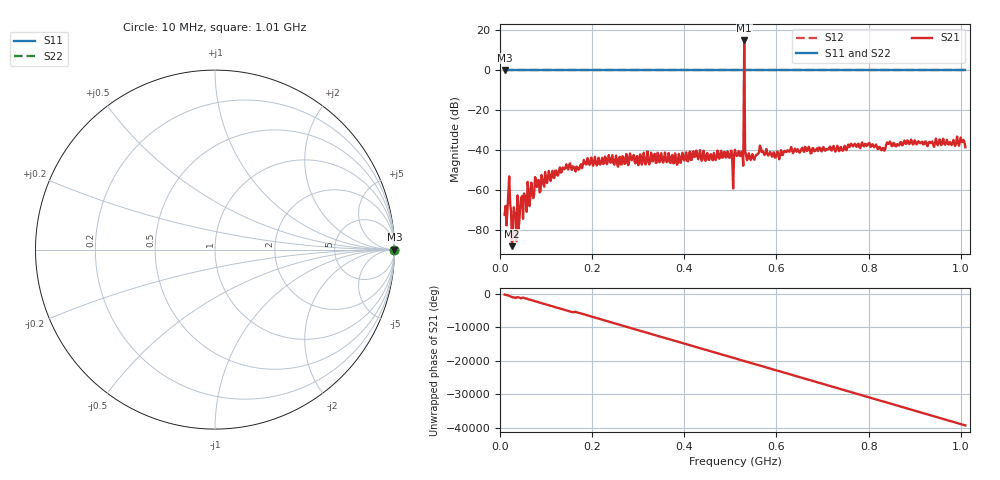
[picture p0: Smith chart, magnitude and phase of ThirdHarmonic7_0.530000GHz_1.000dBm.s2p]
! 8/17/2025 3:44:38 PM
! C:\ANRITSUVNA\TEMP\TEMP.S2P
! CHANNEL.1
! TR.MEASUREMENT
! RAW.DATA
! RF.CORRECTION.OFF
! AVERAGING.OFF
! IF.BANDWIDTH: 5KHZ
! SWEEPTYPE:  FREQ.SWEEP(Linear)
! Reference Plane Port Info
! PORT:  PORT1  PORT2
! DISTANCE:  0  m  0  m
! TIME:  0  s  0  s
! PHASE.OFFSET:  0  deg.  0  deg.
! LOSS:  0  dB  0  dB
! REF.LOSS:  0  dB  0  dB
! REF.FREQ:  0  Hz  0  Hz
! Power Info
! POWER:  -20  dBm  -20  dBm
! EFF.POWER:  -20  dBm  -20  dBm
! SOURCE.ATTEN:  0  dB  0  dB
! TEST.ATTEN:  0  dB  0  dB
# GHZ S RI R 50.0
! FREQ.GHZ  S11RE  S11IM  S21RE  S21IM  S12RE  S12IM  S22RE  S22IM
!; PortSelection: Port_12
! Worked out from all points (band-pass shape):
!   501 points, 10 MHz to 1.01 GHz, reference 50 ohm
!   highest |S21| = 14.72 dB at 530 MHz (marker M1); lowest = -88.3 dB at 26 MHz (marker M2)
!   |S21| within 3 dB of the highest: 529.9044 MHz to 530.1084 MHz (204.1 kHz wide, 0.0385 % of centre)
!   lowest |S11| = 0.0 dB at 10 MHz (marker M3)
!   |S11| at or under -10 dB: nowhere
!   |S22| runs from 0.0 to 0.0 dB; largest |S21 - S12| = 6.3
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0.01  1 0  -0.000234 -3.33e-05  1 0  1 0
0.02  1 0  -0.00207 0.000565  1 0  1 0
0.026  1 0  -3.8e-05 -5.8e-06  1 0  1 0
0.038  1 0  -0.000491 0.000524  1 0  1 0
0.05  1 0  0.000185 -1.93e-05  1 0  1 0
0.068  1 0  0.00136 -0.000638  1 0  1 0
0.08  1 0  -0.00104 -0.00054  1 0  1 0
0.084  1 0  0.0017 0.000342  1 0  1 0
0.178  1 0  -0.00321 -0.00124  1 0  1 0
0.344  1 0  0.00728 -0.00159  1 0  1 0
0.498  1 0  0.00408 -0.00467  1 0  1 0
0.502  1 0  -0.00905 0.00303  1 0  1 0
0.51  1 0  -0.00969 -0.0022  1 0  1 0
0.514  1 0  0.00583 0.00374  1 0  1 0
0.524  1 0  0.00892 -0.000978  1 0  1 0
0.526  1 0  -0.00195 -0.00806  1 0  1 0
0.53  1 0  -4.619 2.877  1 0  1 0
0.534  1 0  0.00234 -0.00712  1 0  1 0
0.536  1 0  -0.00372 -0.00396  1 0  1 0
0.678  1 0  0.00671 -0.00859  1 0  1 0
0.844  1 0  -0.00834 0.0112  1 0  1 0
1.01  1 0  0.00288 -0.0112  1 0  1 0
